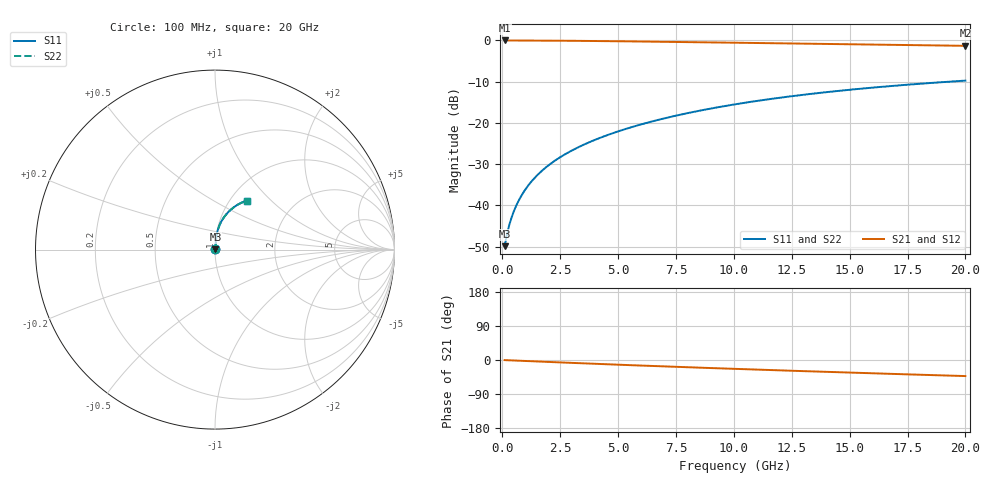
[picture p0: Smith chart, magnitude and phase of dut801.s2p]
! Touchstone file exported from HFSS 2024.1.0
!  File:  C:/UserFiles/LocalFiles/RDL_TSV_Batchsim/temp_RDL_top_801_1779853731.aedt
!  Generated:  11:51:09 AM May 27, 2026
!  Design:  RDL_top
!  Project:  temp_RDL_top_801_1779853731
!  Setup:  Setup1
!  Solution:  Sweep
! Variables:
!  dtsv = 10.80580581um
!  hbump = 3um
!  htsv = 54.11um
!  ldown = 100um
!  lrdl = 677.68um
!  p = 40
!  p1 = 40.97um
!  rhole = 1um
!  t = 450um
!  tdown = 3.915915916um
!  trdl = 4.46um
!  wdown = 15.38538539um
!  wrdl = 21.72um
# GHz S MA R 50.000000
! Terminal data exported
! Port[1] = Box2_T1
! Port[2] = Box2_T2
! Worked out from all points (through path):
!   200 points, 100 MHz to 20 GHz, reference 50 ohm
!   highest |S21| = -0.02 dB at 100 MHz (marker M1); lowest = -1.3 dB at 20 GHz (marker M2)
!   group delay of S21, straight-line fit = 5.83 ps
!   lowest |S11| = -49.9 dB at 100 MHz (marker M3), VSWR 1.01, Z = 50.3 + j0.177 ohm
!   |S11| at or under -10 dB: start of sweep to 19.35 GHz
!   |S22| runs from -49.9 to -9.8 dB; largest |S21 - S12| = 1.9e-14
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0.1  0.003196 33.5  0.9973 -0.3  0.9973 -0.3  0.003196 33.5
! Gamma 0 0 0 0
! Port Impedance 50 0 50 0
0.2  0.004432 49.9  0.9971 -0.5  0.9971 -0.5  0.004432 49.9
0.3  0.005764 58.3  0.9969 -0.8  0.9969 -0.8  0.005764 58.3
0.4  0.007114 63.8  0.9967 -1.1  0.9967 -1.1  0.007114 63.8
0.5  0.008486 67.6  0.9965 -1.3  0.9965 -1.3  0.008485 67.6
0.6  0.009879 70.6  0.9964 -1.6  0.9964 -1.6  0.009879 70.6
0.8  0.01272 74.6  0.996 -2.1  0.996 -2.1  0.01272 74.6
1.1  0.0171 78.2  0.9954 -2.8  0.9954 -2.8  0.0171 78.2
1.3  0.02006 79.7  0.9949 -3.3  0.9949 -3.3  0.02006 79.7
1.6  0.02455 81.3  0.9941 -4.1  0.9941 -4.1  0.02455 81.3
2.1  0.03214 82.9  0.9923 -5.4  0.9923 -5.4  0.03214 82.8
2.7  0.04141 83.8  0.9896 -6.9  0.9896 -6.9  0.04141 83.8
3.5  0.05407 84.2  0.9853 -8.8  0.9853 -8.8  0.05407 84.2
4.2  0.06543 84.2  0.981 -10.5  0.981 -10.5  0.06543 84.2
5  0.07875 83.8  0.9755 -12.4  0.9755 -12.4  0.07874 83.8
6.8  0.1098 81.9  0.9622 -16.5  0.9622 -16.5  0.1098 81.9
8.4  0.1382 79.5  0.9496 -20.0  0.9496 -20.0  0.1382 79.5
10.1  0.1685 76.5  0.936 -23.5  0.936 -23.5  0.1685 76.5
11.7  0.1966 73.4  0.9233 -26.8  0.9233 -26.8  0.1966 73.4
13.4  0.2256 70.0  0.9098 -30.1  0.9098 -30.1  0.2256 70.0
16.7  0.2781 63.5  0.8839 -36.4  0.8839 -36.4  0.2781 63.5
20  0.3249 57.1  0.8586 -42.4  0.8586 -42.4  0.3249 57.1
